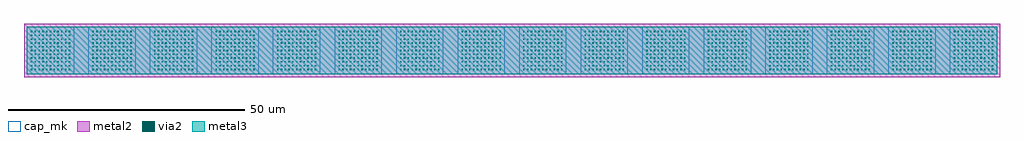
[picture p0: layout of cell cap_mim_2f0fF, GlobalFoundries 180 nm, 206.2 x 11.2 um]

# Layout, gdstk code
import gdstk
lib = gdstk.Library(unit=1e-6, precision=5e-09)
def R(c, l, rs):  # rectangles x0, y0, x1, y1
    for r in rs: c.add(gdstk.rectangle(r[:2], r[2:], *l))
def A(c, l, x, y, w, h, nx, ny, dx, dy):  # array of equal rectangles
    R(c, l, [(x+i*dx, y+j*dy, x+i*dx+w, y+j*dy+h) for i in range(nx) for j in range(ny)])
metal2 = (36, 0)
via2 = (38, 0)
metal3 = (42, 0)
cap_mk = (117, 5)

unnamed_2b6a1afd = lib.new_cell('Unnamed_2b6a1afd')
R(unnamed_2b6a1afd, metal2, [(-5.6,-5.6,5.6,5.6)])
A(unnamed_2b6a1afd, via2, -4.13, -4.13, 0.26, 0.26, 11, 11, 0.8, 0.8)
A(unnamed_2b6a1afd, metal3, -4.25, -4.25, 0.5, 0.5, 11, 11, 0.8, 0.8)
R(unnamed_2b6a1afd, metal3, [(-5,-5,5,5)])
R(unnamed_2b6a1afd, cap_mk, [(-5,-5,5,5)])

unnamed_c8964baf = lib.new_cell('Unnamed_c8964baf')
R(unnamed_c8964baf, metal2, [(-5.6,-5.6,5.6,5.6)])
A(unnamed_c8964baf, via2, -4.13, -4.13, 0.26, 0.26, 11, 11, 0.8, 0.8)
A(unnamed_c8964baf, metal3, -4.25, -4.25, 0.5, 0.5, 11, 11, 0.8, 0.8)
R(unnamed_c8964baf, metal3, [(-5,-5,5,5)])
R(unnamed_c8964baf, cap_mk, [(-5,-5,5,5)])

unnamed_262dfbf9 = lib.new_cell('Unnamed_262dfbf9')
R(unnamed_262dfbf9, metal2, [(-5.6,-5.6,5.6,5.6)])
A(unnamed_262dfbf9, via2, -4.13, -4.13, 0.26, 0.26, 11, 11, 0.8, 0.8)
A(unnamed_262dfbf9, metal3, -4.25, -4.25, 0.5, 0.5, 11, 11, 0.8, 0.8)
R(unnamed_262dfbf9, metal3, [(-5,-5,5,5)])
R(unnamed_262dfbf9, cap_mk, [(-5,-5,5,5)])

unnamed_af07b29c = lib.new_cell('Unnamed_af07b29c')
R(unnamed_af07b29c, metal2, [(-5.6,-5.6,5.6,5.6)])
A(unnamed_af07b29c, via2, -4.13, -4.13, 0.26, 0.26, 11, 11, 0.8, 0.8)
A(unnamed_af07b29c, metal3, -4.25, -4.25, 0.5, 0.5, 11, 11, 0.8, 0.8)
R(unnamed_af07b29c, metal3, [(-5,-5,5,5)])
R(unnamed_af07b29c, cap_mk, [(-5,-5,5,5)])

unnamed_0d5d17fd = lib.new_cell('Unnamed_0d5d17fd')
R(unnamed_0d5d17fd, metal2, [(-5.6,-5.6,5.6,5.6)])
A(unnamed_0d5d17fd, via2, -4.13, -4.13, 0.26, 0.26, 11, 11, 0.8, 0.8)
A(unnamed_0d5d17fd, metal3, -4.25, -4.25, 0.5, 0.5, 11, 11, 0.8, 0.8)
R(unnamed_0d5d17fd, metal3, [(-5,-5,5,5)])
R(unnamed_0d5d17fd, cap_mk, [(-5,-5,5,5)])

unnamed_a064b99d = lib.new_cell('Unnamed_a064b99d')
R(unnamed_a064b99d, metal2, [(-5.6,-5.6,5.6,5.6)])
A(unnamed_a064b99d, via2, -4.13, -4.13, 0.26, 0.26, 11, 11, 0.8, 0.8)
A(unnamed_a064b99d, metal3, -4.25, -4.25, 0.5, 0.5, 11, 11, 0.8, 0.8)
R(unnamed_a064b99d, metal3, [(-5,-5,5,5)])
R(unnamed_a064b99d, cap_mk, [(-5,-5,5,5)])

unnamed_512694a2 = lib.new_cell('Unnamed_512694a2')
R(unnamed_512694a2, metal2, [(-5.6,-5.6,5.6,5.6)])
A(unnamed_512694a2, via2, -4.13, -4.13, 0.26, 0.26, 11, 11, 0.8, 0.8)
A(unnamed_512694a2, metal3, -4.25, -4.25, 0.5, 0.5, 11, 11, 0.8, 0.8)
R(unnamed_512694a2, metal3, [(-5,-5,5,5)])
R(unnamed_512694a2, cap_mk, [(-5,-5,5,5)])

unnamed_24b62f91 = lib.new_cell('Unnamed_24b62f91')
R(unnamed_24b62f91, metal2, [(-5.6,-5.6,5.6,5.6)])
A(unnamed_24b62f91, via2, -4.13, -4.13, 0.26, 0.26, 11, 11, 0.8, 0.8)
A(unnamed_24b62f91, metal3, -4.25, -4.25, 0.5, 0.5, 11, 11, 0.8, 0.8)
R(unnamed_24b62f91, metal3, [(-5,-5,5,5)])
R(unnamed_24b62f91, cap_mk, [(-5,-5,5,5)])

unnamed_4b870807 = lib.new_cell('Unnamed_4b870807')
R(unnamed_4b870807, metal2, [(-5.6,-5.6,5.6,5.6)])
A(unnamed_4b870807, via2, -4.13, -4.13, 0.26, 0.26, 11, 11, 0.8, 0.8)
A(unnamed_4b870807, metal3, -4.25, -4.25, 0.5, 0.5, 11, 11, 0.8, 0.8)
R(unnamed_4b870807, metal3, [(-5,-5,5,5)])
R(unnamed_4b870807, cap_mk, [(-5,-5,5,5)])

unnamed_cbfddda5 = lib.new_cell('Unnamed_cbfddda5')
R(unnamed_cbfddda5, metal2, [(-5.6,-5.6,5.6,5.6)])
A(unnamed_cbfddda5, via2, -4.13, -4.13, 0.26, 0.26, 11, 11, 0.8, 0.8)
A(unnamed_cbfddda5, metal3, -4.25, -4.25, 0.5, 0.5, 11, 11, 0.8, 0.8)
R(unnamed_cbfddda5, metal3, [(-5,-5,5,5)])
R(unnamed_cbfddda5, cap_mk, [(-5,-5,5,5)])

unnamed_a4acb43e = lib.new_cell('Unnamed_a4acb43e')
R(unnamed_a4acb43e, metal2, [(-5.6,-5.6,5.6,5.6)])
A(unnamed_a4acb43e, via2, -4.13, -4.13, 0.26, 0.26, 11, 11, 0.8, 0.8)
A(unnamed_a4acb43e, metal3, -4.25, -4.25, 0.5, 0.5, 11, 11, 0.8, 0.8)
R(unnamed_a4acb43e, metal3, [(-5,-5,5,5)])
R(unnamed_a4acb43e, cap_mk, [(-5,-5,5,5)])

unnamed_0d51cb2d = lib.new_cell('Unnamed_0d51cb2d')
R(unnamed_0d51cb2d, metal2, [(-5.6,-5.6,5.6,5.6)])
A(unnamed_0d51cb2d, via2, -4.13, -4.13, 0.26, 0.26, 11, 11, 0.8, 0.8)
A(unnamed_0d51cb2d, metal3, -4.25, -4.25, 0.5, 0.5, 11, 11, 0.8, 0.8)
R(unnamed_0d51cb2d, metal3, [(-5,-5,5,5)])
R(unnamed_0d51cb2d, cap_mk, [(-5,-5,5,5)])

unnamed_dbaee0b9 = lib.new_cell('Unnamed_dbaee0b9')
R(unnamed_dbaee0b9, metal2, [(-5.6,-5.6,5.6,5.6)])
A(unnamed_dbaee0b9, via2, -4.13, -4.13, 0.26, 0.26, 11, 11, 0.8, 0.8)
A(unnamed_dbaee0b9, metal3, -4.25, -4.25, 0.5, 0.5, 11, 11, 0.8, 0.8)
R(unnamed_dbaee0b9, metal3, [(-5,-5,5,5)])
R(unnamed_dbaee0b9, cap_mk, [(-5,-5,5,5)])

unnamed_fe412eab = lib.new_cell('Unnamed_fe412eab')
R(unnamed_fe412eab, metal2, [(-5.6,-5.6,5.6,5.6)])
A(unnamed_fe412eab, via2, -4.13, -4.13, 0.26, 0.26, 11, 11, 0.8, 0.8)
A(unnamed_fe412eab, metal3, -4.25, -4.25, 0.5, 0.5, 11, 11, 0.8, 0.8)
R(unnamed_fe412eab, metal3, [(-5,-5,5,5)])
R(unnamed_fe412eab, cap_mk, [(-5,-5,5,5)])

unnamed_34403128 = lib.new_cell('Unnamed_34403128')
R(unnamed_34403128, metal2, [(-5.6,-5.6,5.6,5.6)])
A(unnamed_34403128, via2, -4.13, -4.13, 0.26, 0.26, 11, 11, 0.8, 0.8)
A(unnamed_34403128, metal3, -4.25, -4.25, 0.5, 0.5, 11, 11, 0.8, 0.8)
R(unnamed_34403128, metal3, [(-5,-5,5,5)])
R(unnamed_34403128, cap_mk, [(-5,-5,5,5)])

unnamed_511de4d5 = lib.new_cell('Unnamed_511de4d5')
R(unnamed_511de4d5, metal2, [(-5.6,-5.6,5.6,5.6)])
A(unnamed_511de4d5, via2, -4.13, -4.13, 0.26, 0.26, 11, 11, 0.8, 0.8)
A(unnamed_511de4d5, metal3, -4.25, -4.25, 0.5, 0.5, 11, 11, 0.8, 0.8)
R(unnamed_511de4d5, metal3, [(-5,-5,5,5)])
R(unnamed_511de4d5, cap_mk, [(-5,-5,5,5)])

straight_route_a4b61126 = lib.new_cell('straight_route_a4b61126')
R(straight_route_a4b61126, metal3, [(5,-5,8,5)])

straight_route_4f8473e7 = lib.new_cell('straight_route_4f8473e7')
R(straight_route_4f8473e7, metal2, [(5.6,-5.6,7.4,5.6)])

straight_route_e0346ef3 = lib.new_cell('straight_route_e0346ef3')
R(straight_route_e0346ef3, metal3, [(18,-5,21,5)])

straight_route_68b5148e = lib.new_cell('straight_route_68b5148e')
R(straight_route_68b5148e, metal2, [(18.6,-5.6,20.4,5.6)])

straight_route_197176ed = lib.new_cell('straight_route_197176ed')
R(straight_route_197176ed, metal3, [(31,-5,34,5)])

straight_route_1595b72f = lib.new_cell('straight_route_1595b72f')
R(straight_route_1595b72f, metal2, [(31.6,-5.6,33.4,5.6)])

straight_route_0ca608dd = lib.new_cell('straight_route_0ca608dd')
R(straight_route_0ca608dd, metal3, [(44,-5,47,5)])

straight_route_b17cc1ec = lib.new_cell('straight_route_b17cc1ec')
R(straight_route_b17cc1ec, metal2, [(44.6,-5.6,46.4,5.6)])

straight_route_f5b46e6e = lib.new_cell('straight_route_f5b46e6e')
R(straight_route_f5b46e6e, metal3, [(57,-5,60,5)])

straight_route_78757f3f = lib.new_cell('straight_route_78757f3f')
R(straight_route_78757f3f, metal2, [(57.6,-5.6,59.4,5.6)])

straight_route_50a72217 = lib.new_cell('straight_route_50a72217')
R(straight_route_50a72217, metal3, [(70,-5,73,5)])

straight_route_a11caa15 = lib.new_cell('straight_route_a11caa15')
R(straight_route_a11caa15, metal2, [(70.6,-5.6,72.4,5.6)])

straight_route_9d4e22ba = lib.new_cell('straight_route_9d4e22ba')
R(straight_route_9d4e22ba, metal3, [(83,-5,86,5)])

straight_route_055972a1 = lib.new_cell('straight_route_055972a1')
R(straight_route_055972a1, metal2, [(83.6,-5.6,85.4,5.6)])

straight_route_c68fb4c5 = lib.new_cell('straight_route_c68fb4c5')
R(straight_route_c68fb4c5, metal3, [(96,-5,99,5)])

straight_route_6b6149d5 = lib.new_cell('straight_route_6b6149d5')
R(straight_route_6b6149d5, metal2, [(96.6,-5.6,98.4,5.6)])

straight_route_73968c16 = lib.new_cell('straight_route_73968c16')
R(straight_route_73968c16, metal3, [(109,-5,112,5)])

straight_route_0f8f6c00 = lib.new_cell('straight_route_0f8f6c00')
R(straight_route_0f8f6c00, metal2, [(109.6,-5.6,111.4,5.6)])

straight_route_72ee916c = lib.new_cell('straight_route_72ee916c')
R(straight_route_72ee916c, metal3, [(122,-5,125,5)])

straight_route_cd74f21e = lib.new_cell('straight_route_cd74f21e')
R(straight_route_cd74f21e, metal2, [(122.6,-5.6,124.4,5.6)])

straight_route_e2c18d93 = lib.new_cell('straight_route_e2c18d93')
R(straight_route_e2c18d93, metal3, [(135,-5,138,5)])

straight_route_d03f1a79 = lib.new_cell('straight_route_d03f1a79')
R(straight_route_d03f1a79, metal2, [(135.6,-5.6,137.4,5.6)])

straight_route_dc3b606e = lib.new_cell('straight_route_dc3b606e')
R(straight_route_dc3b606e, metal3, [(148,-5,151,5)])

straight_route_25e0f7ef = lib.new_cell('straight_route_25e0f7ef')
R(straight_route_25e0f7ef, metal2, [(148.6,-5.6,150.4,5.6)])

straight_route_190f2679 = lib.new_cell('straight_route_190f2679')
R(straight_route_190f2679, metal3, [(161,-5,164,5)])

straight_route_b1319fa7 = lib.new_cell('straight_route_b1319fa7')
R(straight_route_b1319fa7, metal2, [(161.6,-5.6,163.4,5.6)])

straight_route_62188cf1 = lib.new_cell('straight_route_62188cf1')
R(straight_route_62188cf1, metal3, [(174,-5,177,5)])

straight_route_d0ae50db = lib.new_cell('straight_route_d0ae50db')
R(straight_route_d0ae50db, metal2, [(174.6,-5.6,176.4,5.6)])

straight_route_4ca70d98 = lib.new_cell('straight_route_4ca70d98')
R(straight_route_4ca70d98, metal3, [(187,-5,190,5)])

straight_route_3f5dbfc0 = lib.new_cell('straight_route_3f5dbfc0')
R(straight_route_3f5dbfc0, metal2, [(187.6,-5.6,189.4,5.6)])

cap_mim_2f0ff = lib.new_cell('cap_mim_2f0fF')
cap_mim_2f0ff.add(gdstk.Reference(unnamed_2b6a1afd, (0,0)))
cap_mim_2f0ff.add(gdstk.Reference(unnamed_c8964baf, (13,0)))
cap_mim_2f0ff.add(gdstk.Reference(unnamed_262dfbf9, (26,0)))
cap_mim_2f0ff.add(gdstk.Reference(unnamed_af07b29c, (39,0)))
cap_mim_2f0ff.add(gdstk.Reference(unnamed_0d5d17fd, (52,0)))
cap_mim_2f0ff.add(gdstk.Reference(unnamed_a064b99d, (65,0)))
cap_mim_2f0ff.add(gdstk.Reference(unnamed_512694a2, (78,0)))
cap_mim_2f0ff.add(gdstk.Reference(unnamed_24b62f91, (91,0)))
cap_mim_2f0ff.add(gdstk.Reference(unnamed_4b870807, (104,0)))
cap_mim_2f0ff.add(gdstk.Reference(unnamed_cbfddda5, (117,0)))
cap_mim_2f0ff.add(gdstk.Reference(unnamed_a4acb43e, (130,0)))
cap_mim_2f0ff.add(gdstk.Reference(unnamed_0d51cb2d, (143,0)))
cap_mim_2f0ff.add(gdstk.Reference(unnamed_dbaee0b9, (156,0)))
cap_mim_2f0ff.add(gdstk.Reference(unnamed_fe412eab, (169,0)))
cap_mim_2f0ff.add(gdstk.Reference(unnamed_34403128, (182,0)))
cap_mim_2f0ff.add(gdstk.Reference(unnamed_511de4d5, (195,0)))
cap_mim_2f0ff.add(gdstk.Reference(straight_route_a4b61126, (0,0)))
cap_mim_2f0ff.add(gdstk.Reference(straight_route_4f8473e7, (0,0)))
cap_mim_2f0ff.add(gdstk.Reference(straight_route_e0346ef3, (0,0)))
cap_mim_2f0ff.add(gdstk.Reference(straight_route_68b5148e, (0,0)))
cap_mim_2f0ff.add(gdstk.Reference(straight_route_197176ed, (0,0)))
cap_mim_2f0ff.add(gdstk.Reference(straight_route_1595b72f, (0,0)))
cap_mim_2f0ff.add(gdstk.Reference(straight_route_0ca608dd, (0,0)))
cap_mim_2f0ff.add(gdstk.Reference(straight_route_b17cc1ec, (0,0)))
cap_mim_2f0ff.add(gdstk.Reference(straight_route_f5b46e6e, (0,0)))
cap_mim_2f0ff.add(gdstk.Reference(straight_route_78757f3f, (0,0)))
cap_mim_2f0ff.add(gdstk.Reference(straight_route_50a72217, (0,0)))
cap_mim_2f0ff.add(gdstk.Reference(straight_route_a11caa15, (0,0)))
cap_mim_2f0ff.add(gdstk.Reference(straight_route_9d4e22ba, (0,0)))
cap_mim_2f0ff.add(gdstk.Reference(straight_route_055972a1, (0,0)))
cap_mim_2f0ff.add(gdstk.Reference(straight_route_c68fb4c5, (0,0)))
cap_mim_2f0ff.add(gdstk.Reference(straight_route_6b6149d5, (0,0)))
cap_mim_2f0ff.add(gdstk.Reference(straight_route_73968c16, (0,0)))
cap_mim_2f0ff.add(gdstk.Reference(straight_route_0f8f6c00, (0,0)))
cap_mim_2f0ff.add(gdstk.Reference(straight_route_72ee916c, (0,0)))
cap_mim_2f0ff.add(gdstk.Reference(straight_route_cd74f21e, (0,0)))
cap_mim_2f0ff.add(gdstk.Reference(straight_route_e2c18d93, (0,0)))
cap_mim_2f0ff.add(gdstk.Reference(straight_route_d03f1a79, (0,0)))
cap_mim_2f0ff.add(gdstk.Reference(straight_route_dc3b606e, (0,0)))
cap_mim_2f0ff.add(gdstk.Reference(straight_route_25e0f7ef, (0,0)))
cap_mim_2f0ff.add(gdstk.Reference(straight_route_190f2679, (0,0)))
cap_mim_2f0ff.add(gdstk.Reference(straight_route_b1319fa7, (0,0)))
cap_mim_2f0ff.add(gdstk.Reference(straight_route_62188cf1, (0,0)))
cap_mim_2f0ff.add(gdstk.Reference(straight_route_d0ae50db, (0,0)))
cap_mim_2f0ff.add(gdstk.Reference(straight_route_4ca70d98, (0,0)))
cap_mim_2f0ff.add(gdstk.Reference(straight_route_3f5dbfc0, (0,0)))

lib.write_gds('cap_mim_2f0fF.gds')
